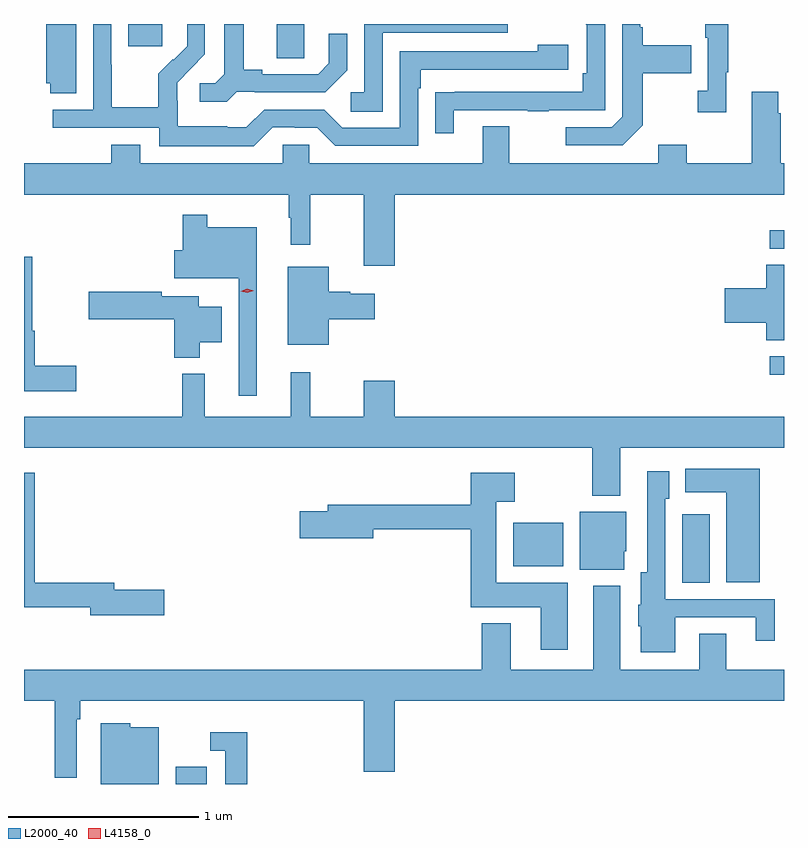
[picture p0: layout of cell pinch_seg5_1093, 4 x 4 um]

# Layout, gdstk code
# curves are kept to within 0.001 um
import gdstk
lib = gdstk.Library(unit=1e-6, precision=1e-09)
def R(c, l, rs):  # rectangles x0, y0, x1, y1
    for r in rs: c.add(gdstk.rectangle(r[:2], r[2:], *l))
def P(c, l, *ps):  # polygons
    for p in ps: c.add(gdstk.Polygon(p, *l))
L2000_40 = (2000, 40)
L4158_0 = (4158, 0)

pinch_seg5_1093 = lib.new_cell('pinch_seg5_1093')
R(pinch_seg5_1093, L2000_40, [(799.382,844.334,799.546,844.426), (802.049,845.392,802.192,845.755), (801.158,845.48,801.421,845.71), (802.509,846.487,802.584,846.585), (802.509,847.152,802.584,847.248), (799.913,848.155,800.058,848.334), (799.133,848.217,799.312,848.334)])
P(pinch_seg5_1093, L2000_40, [(800.472,848.289),(801.131,848.289),(801.131,848.334),(800.376,848.334),(800.376,847.974),(800.304,847.974),(800.304,847.873),(800.472,847.873)],
  [(798.859,848.334),(798.701,848.334),(798.701,848.022),(798.721,848.022),(798.721,847.969),(798.859,847.969)],
  [(802.279,848.081),(802.291,848.081),(802.291,848.334),(802.17,848.334),(802.17,848.261),(802.182,848.261),(802.182,847.982),(802.131,847.982),(802.131,847.869),(802.279,847.869)],
  [(799.893,847.791),(800.009,847.791),(800.009,847.788),(800.127,847.788),(800.223,847.692),(800.658,847.692),(800.658,847.997),(800.671,847.997),(800.671,848.094),(801.448,848.094),(801.448,848.224),(801.287,848.224),(801.287,848.19),(800.562,848.19),(800.562,847.788),(800.259,847.788),(800.163,847.884),(799.848,847.884),(799.755,847.791),(799.655,847.791),(799.655,847.795),(799.392,847.795),(799.392,847.929),(799.39,847.929),(799.39,848.026),(799.536,848.174),(799.536,848.334),(799.442,848.334),(799.442,848.216),(799.371,848.145),(799.368,848.148),(799.291,848.071),(799.291,847.897),(799.047,847.897),(799.047,848.12),(799.044,848.12),(799.044,848.334),(798.948,848.334),(798.948,847.884),(798.735,847.884),(798.735,847.788),(799.296,847.788),(799.296,847.691),(799.793,847.691)],
  [(801.841,847.801),(801.841,848.074),(802.097,848.074),(802.097,848.221),(801.841,848.221),(801.841,848.317),(801.828,848.317),(801.828,848.334),(801.732,848.334),(801.732,847.845),(801.678,847.791),(801.435,847.791),(801.435,847.695),(801.735,847.695)],
  [(799.704,847.977),(799.798,847.977),(799.798,847.974),(800.17,847.974),(800.286,848.09),(800.286,848.284),(800.189,848.284),(800.189,848.127),(800.132,848.07),(799.837,848.07),(799.837,848.093),(799.741,848.093),(799.741,848.334),(799.637,848.334),(799.637,848.069),(799.59,848.022),(799.509,848.022),(799.509,847.925),(799.652,847.925)],
  [(800.845,847.881),(801.235,847.881),(801.235,847.876),(801.347,847.876),(801.347,847.881),(801.642,847.881),(801.642,848.334),(801.54,848.334),(801.546,848.328),(801.546,848.074),(801.526,848.074),(801.526,847.977),(800.749,847.976),(800.749,847.758),(800.845,847.758)],
  [(800.536,847.436),(802.584,847.436),(802.584,847.6),(802.568,847.6),(802.568,847.865),(802.555,847.865),(802.555,847.978),(802.415,847.978),(802.415,847.6),(802.071,847.6),(802.071,847.699),(801.923,847.699),(801.923,847.6),(801.139,847.6),(801.139,847.795),(800.999,847.795),(800.999,847.6),(800.085,847.6),(800.085,847.698),(799.947,847.698),(799.947,847.6),(799.195,847.6),(799.195,847.699),(799.043,847.699),(799.043,847.6),(798.584,847.6),(798.584,847.436),(799.977,847.436),(799.977,847.313),(799.988,847.313),(799.988,847.173),(800.09,847.173),(800.09,847.436),(800.372,847.436),(800.372,847.062),(800.536,847.062)],
  [(799.81,847.264),(799.549,847.264),(799.549,847.33),(799.42,847.33),(799.42,847.143),(799.376,847.143),(799.376,846.995),(799.713,846.995),(799.713,846.378),(799.81,846.378)],
  [(798.859,846.536),(798.641,846.536),(798.641,846.719),(798.628,846.719),(798.628,847.108),(798.584,847.108),(798.584,846.401),(798.859,846.401)],
  [(802.584,847.067),(802.49,847.067),(802.49,846.944),(802.272,846.944),(802.272,846.761),(802.49,846.761),(802.49,846.67),(802.584,846.67)],
  [(800.188,846.779),(800.431,846.779),(800.431,846.913),(800.301,846.913),(800.301,846.926),(800.188,846.926),(800.188,847.057),(799.973,847.057),(799.973,846.647),(800.188,846.647)],
  [(799.51,846.659),(799.624,846.659),(799.624,846.847),(799.504,846.847),(799.504,846.901),(799.308,846.901),(799.308,846.926),(798.924,846.926),(798.924,846.779),(799.376,846.779),(799.376,846.578),(799.51,846.578)],
  [(801.721,846.104),(802.584,846.104),(802.584,846.268),(800.536,846.268),(800.536,846.457),(800.372,846.457),(800.372,846.268),(800.09,846.268),(800.09,846.502),(799.988,846.502),(799.988,846.268),(799.535,846.268),(799.535,846.493),(799.417,846.493),(799.417,846.268),(798.584,846.268),(798.584,846.104),(801.574,846.104),(801.574,845.852),(801.721,845.852)],
  [(802.456,845.992),(802.064,845.992),(802.064,845.87),(802.28,845.87),(802.28,845.396),(802.456,845.396)],
  [(802.012,845.211),(802.436,845.211),(802.436,845.088),(802.534,845.088),(802.534,845.307),(801.96,845.307),(801.96,845.835),(801.979,845.835),(801.979,845.98),(801.864,845.98),(801.864,845.449),(801.83,845.449),(801.83,845.277),(801.818,845.277),(801.818,845.163),(801.83,845.163),(801.83,845.027),(802.012,845.027)],
  [(799.321,845.357),(799.06,845.357),(799.06,845.393),(798.641,845.393),(798.641,845.971),(798.584,845.971),(798.584,845.264),(798.624,845.264),(798.624,845.265),(798.932,845.265),(798.932,845.222),(799.321,845.222)],
  [(801.445,845.392),(801.07,845.392),(801.07,845.819),(801.166,845.819),(801.166,845.971),(800.936,845.971),(800.936,845.803),(800.183,845.803),(800.183,845.769),(800.034,845.769),(800.034,845.627),(800.422,845.627),(800.422,845.674),(800.936,845.674),(800.936,845.264),(801.305,845.264),(801.305,845.04),(801.445,845.04)],
  [(801.742,845.559),(801.754,845.559),(801.754,845.767),(801.509,845.767),(801.509,845.462),(801.742,845.462)],
  [(798.861,844.676),(798.881,844.676),(798.881,844.772),(800.372,844.772),(800.372,844.398),(800.536,844.398),(800.536,844.772),(802.584,844.772),(802.584,844.936),(802.279,844.936),(802.279,845.126),(802.139,845.126),(802.139,844.936),(801.721,844.936),(801.721,845.377),(801.581,845.377),(801.581,844.936),(801.145,844.936),(801.145,845.179),(800.993,845.179),(800.993,844.936),(798.584,844.936),(798.584,844.772),(798.745,844.772),(798.745,844.368),(798.861,844.368)],
  [(799.294,844.633),(799.143,844.633),(799.143,844.654),(798.989,844.654),(798.989,844.334),(799.294,844.334)],
  [(799.76,844.606),(799.563,844.606),(799.563,844.509),(799.644,844.509),(799.644,844.334),(799.76,844.334)])
P(pinch_seg5_1093, L4158_0, [(799.759,846.92),(799.724,846.928),(799.724,846.928),(799.724,846.928),(799.759,846.94),(799.794,846.931),(799.794,846.931),(799.794,846.931)])

lib.write_gds('pinch_seg5_1093.gds')
